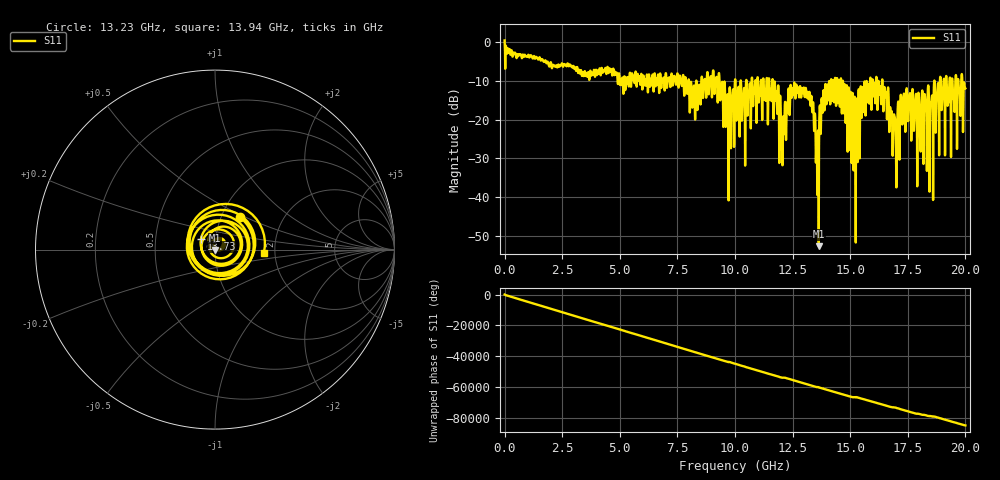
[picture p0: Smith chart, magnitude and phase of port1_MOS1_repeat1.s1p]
! MS46122B
! 2250307/22442219
! 7/21/2025 12:14:21 PM
! C:\USERS\SPARKY\DOCUMENTS\VNA_DATA\JULY21_2025\295K\PORT1_MOS1_REPEAT1.S1P
! CHANNEL.1
! TR.MEASUREMENT
! RAW.DATA
# GHZ S RI R 50.0
! FREQ.GHZ  S11RE  S11IM
!; PortSelection: Port_1
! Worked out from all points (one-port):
!   10001 points, 1 MHz to 20 GHz, reference 50 ohm
!   lowest |S11| = -52.6 dB at 13.64 GHz (marker M1), VSWR 1.00, Z = 50.1 - j0.22 ohm
!   |S11| at or under -10 dB: 11.64 GHz to 14.17 GHz (2.525 GHz wide, 19.6 % of centre); 14.68 GHz to 15.86 GHz (1.18 GHz wide, 7.73 % of centre); 16.4 GHz to 18.65 GHz (2.248 GHz wide, 12.8 % of centre) (the widest 3 of 72)
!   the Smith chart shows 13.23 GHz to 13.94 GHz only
!   S11 on the Smith chart (normalised r, x): 13.23 GHz: 1.22, +0.47; 13.73 GHz: 0.85, +0.10; 13.94 GHz: 1.75, -0.07
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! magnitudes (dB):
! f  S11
! 1 MHz  0.4
! 2.501 GHz  -5.6
! 5.001 GHz  -10.7
! 7.501 GHz  -8.1
! 8.205 GHz  -11.8
! 9.125 GHz  -11.9
! 9.787 GHz  -12.6
! 10 GHz  -9.9
! 11.55 GHz  -12.1
! 11.8 GHz  -13.1
! 12.08 GHz  -22.3
! 12.5 GHz  -12.0
! 13.23 GHz  -12.8
! 13.55 GHz  -24.6
! 13.64 GHz  -52.6
! 13.73 GHz  -20.2
! 13.94 GHz  -11.3
! 14.51 GHz  -9.9
! 15 GHz  -15.1
! 15.24 GHz  -28.6
! 15.54 GHz  -11.6
! 16.31 GHz  -11.7
! 16.57 GHz  -14.7
! 16.93 GHz  -19.2
! 17.5 GHz  -19.1
! 17.99 GHz  -15.4
! 18.99 GHz  -15.5
! 20 GHz  -11.9
